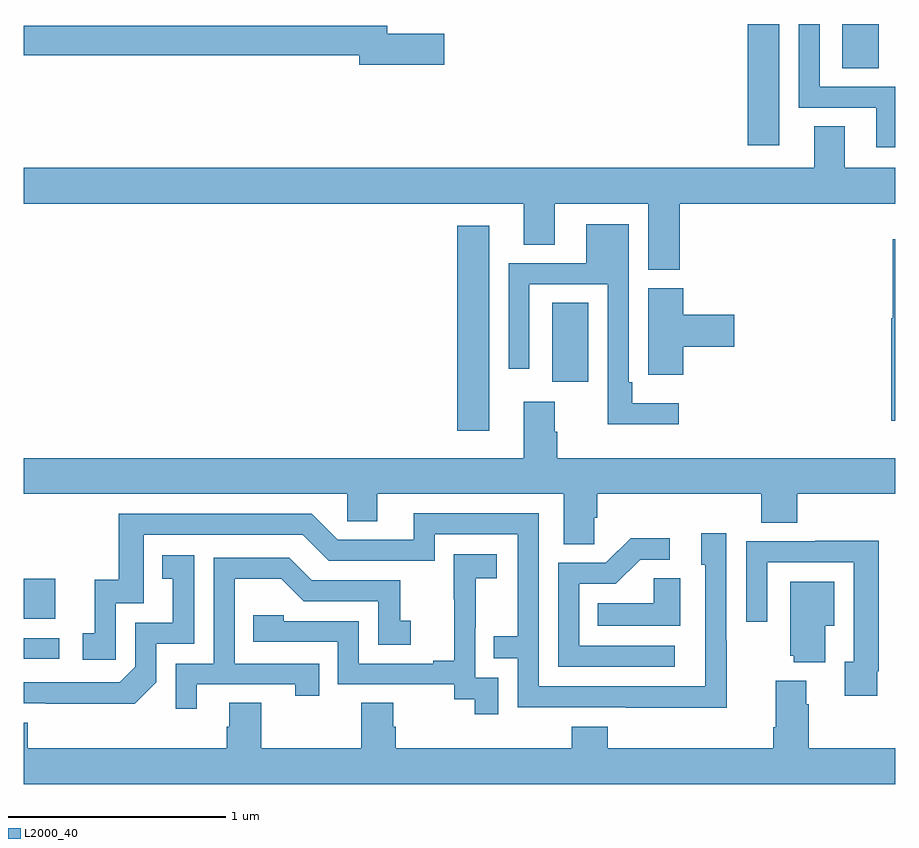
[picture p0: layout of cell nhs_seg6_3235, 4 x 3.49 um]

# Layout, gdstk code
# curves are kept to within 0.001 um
import gdstk
lib = gdstk.Library(unit=1e-6, precision=1e-09)
def R(c, l, rs):  # rectangles x0, y0, x1, y1
    for r in rs: c.add(gdstk.rectangle(r[:2], r[2:], *l))
def P(c, l, *ps):  # polygons
    for p in ps: c.add(gdstk.Polygon(p, *l))
L2000_40 = (2000, 40)

nhs_seg6_3235 = lib.new_cell('nhs_seg6_3235')
R(nhs_seg6_3235, L2000_40, [(301,938.586,301.162,938.682), (301,938.771,301.144,938.953), (302.99,939.633,303.136,940.573), (303.425,939.858,303.592,940.22), (304.322,940.944,304.468,941.5), (304.757,941.296,304.924,941.5)])
P(nhs_seg6_3235, L2000_40, [(305,941.211),(304.653,941.211),(304.653,941.5),(304.557,941.5),(304.557,941.115),(304.913,941.115),(304.913,940.934),(305,940.934)],
  [(302.929,941.456),(302.668,941.456),(302.668,941.492),(301,941.492),(301,941.356),(302.54,941.356),(302.54,941.314),(302.929,941.314)],
  [(304.01,940.676),(305,940.676),(305,940.84),(304.768,940.84),(304.768,941.03),(304.628,941.03),(304.628,940.84),(301,940.84),(301,940.676),(303.296,940.676),(303.296,940.486),(303.436,940.486),(303.436,940.676),(303.866,940.676),(303.866,940.372),(304.01,940.372)],
  [(304.006,939.76),(303.793,939.76),(303.793,939.856),(303.777,939.856),(303.777,940.582),(303.581,940.582),(303.581,940.401),(303.225,940.401),(303.225,939.918),(303.321,939.918),(303.321,940.305),(303.681,940.305),(303.681,939.662),(304.006,939.662)],
  [(305,940.513),(304.988,940.513),(304.988,940.149),(304.982,940.149),(304.982,939.678),(305,939.678)],
  [(304.028,940.019),(304.261,940.019),(304.261,940.166),(304.028,940.166),(304.028,940.287),(303.866,940.287),(303.866,940.003),(303.867,940.003),(303.867,939.891),(304.028,939.891)],
  [(303.618,939.235),(303.632,939.235),(303.632,939.344),(304.385,939.344),(304.385,939.211),(304.55,939.211),(304.55,939.344),(305,939.344),(305,939.508),(303.449,939.508),(303.449,939.629),(303.436,939.629),(303.436,939.766),(303.296,939.766),(303.296,939.508),(301,939.508),(301,939.344),(302.484,939.344),(302.484,939.217),(302.623,939.217),(302.623,939.344),(303.479,939.344),(303.479,939.112),(303.618,939.112)],
  [(304.227,938.669),(304.224,938.669),(304.224,939.163),(304.109,939.163),(304.109,939.018),(304.128,939.018),(304.128,938.46),(303.363,938.46),(303.363,939.255),(302.789,939.255),(302.789,939.132),(302.442,939.132),(302.322,939.252),(301.435,939.252),(301.435,938.95),(301.325,938.95),(301.325,938.703),(301.272,938.703),(301.272,938.583),(301.422,938.583),(301.422,938.841),(301.551,938.841),(301.551,939.156),(302.28,939.156),(302.4,939.036),(302.886,939.036),(302.886,939.159),(303.267,939.159),(303.267,938.69),(303.157,938.69),(303.157,938.589),(303.267,938.589),(303.267,938.364),(304.227,938.363)],
  [(303.988,938.646),(303.549,938.646),(303.549,938.931),(303.718,938.931),(303.829,939.042),(303.964,939.042),(303.964,939.14),(303.785,939.14),(303.672,939.027),(303.453,939.027),(303.453,938.55),(303.988,938.55)],
  [(304.918,938.53),(304.925,938.53),(304.925,939.128),(304.633,939.128),(304.633,939.126),(304.317,939.126),(304.317,938.757),(304.413,938.757),(304.413,939.03),(304.809,939.03),(304.809,938.574),(304.769,938.574),(304.769,938.418),(304.918,938.418)],
  [(303.177,938.499),(303.072,938.499),(303.072,938.729),(303.074,938.729),(303.074,938.957),(303.172,938.957),(303.172,939.067),(302.974,939.067),(302.974,938.861),(302.975,938.861),(302.975,938.578),(302.879,938.578),(302.879,938.565),(302.538,938.565),(302.538,938.76),(302.193,938.76),(302.193,938.787),(302.053,938.787),(302.053,938.664),(302.442,938.664),(302.442,938.469),(302.976,938.469),(302.976,938.401),(303.069,938.401),(303.069,938.331),(303.177,938.331)],
  [(301.608,938.478),(301.608,938.655),(301.782,938.655),(301.782,939.061),(301.636,939.061),(301.636,938.955),(301.685,938.955),(301.685,938.751),(301.512,938.751),(301.512,938.55),(301.44,938.478),(301,938.478),(301,938.382),(301.51,938.381)],
  [(301.795,938.469),(302.246,938.469),(302.246,938.418),(302.357,938.418),(302.357,938.565),(301.968,938.565),(301.968,938.954),(302.182,938.954),(302.286,938.85),(302.628,938.85),(302.628,938.652),(302.776,938.652),(302.776,938.761),(302.727,938.761),(302.727,938.946),(302.323,938.946),(302.218,939.051),(301.872,939.051),(301.872,938.565),(301.698,938.565),(301.698,938.358),(301.795,938.358)],
  [(304.012,938.957),(303.891,938.957),(303.891,938.842),(303.634,938.842),(303.634,938.738),(304.012,938.738)],
  [(304.678,938.738),(304.72,938.738),(304.72,938.941),(304.517,938.941),(304.517,938.601),(304.535,938.601),(304.535,938.57),(304.678,938.57)],
  [(305,938.176),(304.604,938.176),(304.604,938.378),(304.591,938.378),(304.591,938.485),(304.451,938.485),(304.451,938.272),(304.439,938.272),(304.439,938.176),(303.68,938.176),(303.68,938.275),(303.515,938.275),(303.515,938.176),(302.708,938.176),(302.708,938.274),(302.695,938.274),(302.695,938.384),(302.548,938.384),(302.548,938.176),(302.091,938.176),(302.091,938.384),(301.943,938.384),(301.943,938.274),(301.931,938.274),(301.931,938.176),(301.019,938.176),(301.019,938.293),(301,938.293),(301,938.012),(305,938.012)])

lib.write_gds('nhs_seg6_3235.gds')
